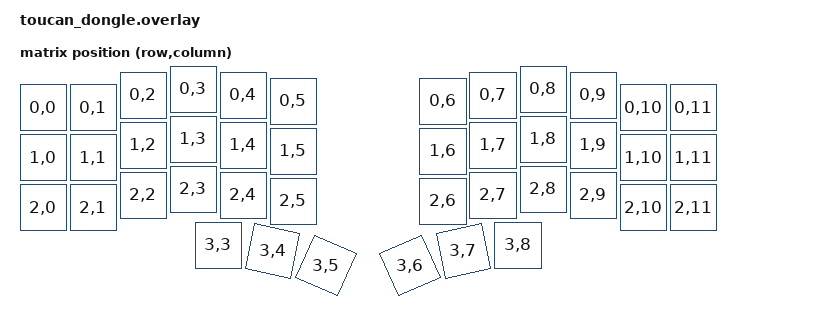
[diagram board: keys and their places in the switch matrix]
// Toucan2 dongle (Prospector, XIAO nRF52840): central with no key matrix.
// Physical layout, matrix transform and trackpad input chain copied from
// beekeeb/zmk-keyboard-toucan2 boards/shields/toucan/toucan.dtsi (the module
// has no dongle target of its own). Keep in sync if beekeeb changes the dtsi.
#include <input/processors.dtsi>
#include <dt-bindings/input/input-event-codes.h>
#include <dt-bindings/zmk/input_transform.h>
#include <dt-bindings/zmk/keys.h>
#include <dt-bindings/zmk/matrix_transform.h>
#include <physical_layouts.dtsi>

/ {
    chosen {
        zmk,kscan = &mock_kscan;
        zmk,physical-layout = &default_layout;
        zephyr,console = &feed_uart;   // USB logging port = live key feed (CONFIG_ZMK_USB_LOGGING)
    };

    mock_kscan: mock_kscan_0 {
        compatible = "zmk,kscan-mock";
        columns = <0>;
        rows = <0>;
        events = <0>;
    };

    default_layout: default_layout {
        compatible = "zmk,physical-layout";
        display-name = "Default Layout";
        transform = <&default_transform>;

        keys  //                     w   h    x    y     rot    rx    ry
            = <&key_physical_attrs 100 100    0   37       0     0     0>
            , <&key_physical_attrs 100 100  100   37       0     0     0>
            , <&key_physical_attrs 100 100  200   12       0     0     0>
            , <&key_physical_attrs 100 100  300    0       0     0     0>
            , <&key_physical_attrs 100 100  400   12       0     0     0>
            , <&key_physical_attrs 100 100  500   24       0     0     0>
            , <&key_physical_attrs 100 100  800   24       0     0     0>
            , <&key_physical_attrs 100 100  900   12       0     0     0>
            , <&key_physical_attrs 100 100 1000    0       0     0     0>
            , <&key_physical_attrs 100 100 1100   12       0     0     0>
            , <&key_physical_attrs 100 100 1200   37       0     0     0>
            , <&key_physical_attrs 100 100 1300   37       0     0     0>
            , <&key_physical_attrs 100 100    0  137       0     0     0>
            , <&key_physical_attrs 100 100  100  137       0     0     0>
            , <&key_physical_attrs 100 100  200  112       0     0     0>
            , <&key_physical_attrs 100 100  300  100       0     0     0>
            , <&key_physical_attrs 100 100  400  112       0     0     0>
            , <&key_physical_attrs 100 100  500  124       0     0     0>
            , <&key_physical_attrs 100 100  800  124       0     0     0>
            , <&key_physical_attrs 100 100  900  112       0     0     0>
            , <&key_physical_attrs 100 100 1000  100       0     0     0>
            , <&key_physical_attrs 100 100 1100  112       0     0     0>
            , <&key_physical_attrs 100 100 1200  137       0     0     0>
            , <&key_physical_attrs 100 100 1300  137       0     0     0>
            , <&key_physical_attrs 100 100    0  237       0     0     0>
            , <&key_physical_attrs 100 100  100  237       0     0     0>
            , <&key_physical_attrs 100 100  200  212       0     0     0>
            , <&key_physical_attrs 100 100  300  200       0     0     0>
            , <&key_physical_attrs 100 100  400  212       0     0     0>
            , <&key_physical_attrs 100 100  500  224       0     0     0>
            , <&key_physical_attrs 100 100  800  224       0     0     0>
            , <&key_physical_attrs 100 100  900  212       0     0     0>
            , <&key_physical_attrs 100 100 1000  200       0     0     0>
            , <&key_physical_attrs 100 100 1100  212       0     0     0>
            , <&key_physical_attrs 100 100 1200  237       0     0     0>
            , <&key_physical_attrs 100 100 1300  237       0     0     0>
            , <&key_physical_attrs 100 100  350  312       0     0     0>
            , <&key_physical_attrs 100 100  450  312    1200   450   412>
            , <&key_physical_attrs 100 100  548  328    2400   548   433>
            , <&key_physical_attrs 100 100  752  328  (-2400)  852   433>
            , <&key_physical_attrs 100 100  850  312  (-1200)  950   412>
            , <&key_physical_attrs 100 100  950  312       0     0     0>
            ;
    };

    default_transform: keymap_transform_0 {
        compatible = "zmk,matrix-transform";
        columns = <12>;
        rows = <4>;
        map = <
        RC(0,0) RC(0,1) RC(0,2) RC(0,3) RC(0,4) RC(0,5)  RC(0,6) RC(0,7) RC(0,8) RC(0,9) RC(0,10) RC(0,11)
        RC(1,0) RC(1,1) RC(1,2) RC(1,3) RC(1,4) RC(1,5)  RC(1,6) RC(1,7) RC(1,8) RC(1,9) RC(1,10) RC(1,11)
        RC(2,0) RC(2,1) RC(2,2) RC(2,3) RC(2,4) RC(2,5)  RC(2,6) RC(2,7) RC(2,8) RC(2,9) RC(2,10) RC(2,11)
                                RC(3,3) RC(3,4) RC(3,5)  RC(3,6) RC(3,7) RC(3,8)
        >;
    };

    input_processors {
        // pinch zoom -> Ctrl +/- (works on Linux and Windows alike; beekeeb's default is the macOS Cmd variant)
        zip_zoom_mapper: zip_zoom_mapper {
            compatible = "zmk,input-processor-zoom";
            #input-processor-cells = <0>;
            event-code = <INPUT_REL_MISC>;
            sensitivity = <10>;
            bindings = <&kp LC(MINUS)>, <&kp LC(EQUAL)>;
            track-remainders;
        };

        // finger on the trackpad -> MOU layer (thumbs become mouse buttons)
        is_touching_processor: is_touching_processor {
            compatible = "zmk,input-processor-behaviors";
            #input-processor-cells = <0>;
            codes = <INPUT_BTN_TOUCH>;
            bindings = <&mo 4>;
        };

        // three-finger swipes: up / right / down / left (Windows-style bindings, harmless elsewhere)
        swipe_button_mapper: swipe_button_mapper {
            compatible = "zmk,input-processor-behaviors";
            #input-processor-cells = <0>;
            codes = <INPUT_BTN_NORTH INPUT_BTN_EAST INPUT_BTN_SOUTH INPUT_BTN_WEST>;
            bindings = <&kp LG(TAB)>, <&kp LG(RIGHT)>, <&kp LG(D)>, <&kp LG(LEFT)>;
        };
    };

    split_inputs {
        #address-cells = <1>;
        #size-cells = <0>;

        trackpad_split: trackpad_split@0 {
            compatible = "zmk,input-split";
            reg = <0>;
        };
    };

    trackpad_listener: trackpad_listener {
        compatible = "zmk,input-listener";
        device = <&trackpad_split>;
        input-processors = <&zip_xy_scaler 100 100>, <&zip_scroll_scaler 1 20>, <&zip_zoom_mapper>, <&is_touching_processor>, <&swipe_button_mapper>;
        scroller {
            layers = <1 2>;
            input-processors = <
                &zip_xy_to_scroll_mapper
                &zip_scroll_scaler 1 20
                &zip_scroll_transform INPUT_TRANSFORM_X_INVERT
            >;
        };
    };
};

// second CDC ACM port next to the Studio one: carries the log / key feed
&zephyr_udc0 {
    feed_uart: feed_uart {
        compatible = "zephyr,cdc-acm-uart";
    };
};
